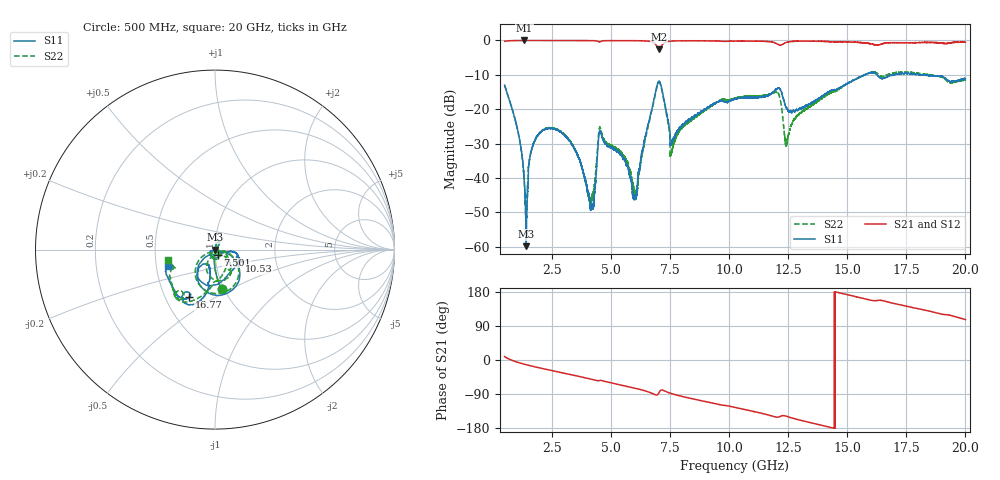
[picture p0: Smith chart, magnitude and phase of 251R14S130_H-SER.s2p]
!{251R14S130}
!Johanson Technology Inc.
!www.johansontechnology.com
!Test Board Conditions:
!Substrate Type  RO4350B
!Substrate Thickness  20 mil
!Substrate Dk  3.66
!TL Type: GCPW
!TL Trace Width  36 mil
!TL Gap  12 mil
!Electrode orientation  Horizontal
!DUT TOPOLOGY	SERIES
!Mounting Pad LxW  26x36 mil
! Created Wed Mar 11 15:50:19 2020
# mhz S ma R 50
! 2 Port Network Data from SP1.SP block
! freq  magS11  angS11  magS21  angS21  magS12  angS12  magS22  angS22
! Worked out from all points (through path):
!   19501 points, 500 MHz to 20 GHz, reference 50 ohm
!   highest |S21| = -0.01 dB at 1.33 GHz (marker M1); lowest = -2.6 dB at 7.034 GHz (marker M2)
!   group delay of S21, straight-line fit = 35.5 ps
!   lowest |S11| = -59.8 dB at 1.416 GHz (marker M3), VSWR 1.00, Z = 49.9 + j0.0151 ohm
!   |S11| at or under -10 dB: start of sweep to 15.73 GHz; 16.27 GHz to 16.92 GHz (652.7 MHz wide, 3.93 % of centre); 18.13 GHz to end of sweep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
!   |S22| runs from -52.1 to -9.1 dB; largest |S21 - S12| = 0.021
!   S11 on the Smith chart (normalised r, x): 500 MHz: 0.97, -0.45; 7.501 GHz: 1.03, -0.06; 10.53 GHz: 1.29, -0.17; 16.77 GHz: 0.66, -0.38; 20 GHz: 0.57, -0.11
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500  0.2237 -80.5  0.9714 8.9  0.9716 8.9  0.224 -80.6
1097  0.04265 -95.9  0.9968 -6.9  0.9961 -6.9  0.04223 -94.5
1330  0.009279 -106.2  0.9987 -11.0  0.9972 -11.0  0.00919 -86.2
1416  0.001025 171.5  0.9971 -12.4  0.9972 -12.4  0.002952 4.3
1645  0.02587 77.4  0.9968 -16.1  0.9969 -16.0  0.02654 69.1
2158  0.0502 68.6  0.9962 -23.3  0.9957 -23.4  0.051 65.1
3750  0.01549 40.9  0.9952 -44.6  0.9948 -44.6  0.0152 48.4
4203  0.003926 21.8  0.9925 -50.9  0.9931 -50.9  0.005222 -12.7
4569  0.04669 -112.8  0.9661 -53.7  0.9664 -53.7  0.05118 -104.2
5528  0.01877 -162.3  0.9932 -67.5  0.9929 -67.5  0.02109 -137.7
6010  0.005571 -86.8  0.9907 -74.3  0.9909 -74.3  0.005509 -94.4
7000  0.2475 -69.3  0.7626 -89.7  0.7623 -89.8  0.2386 -71.6
7034  0.256 -81.7  0.7441 -86.3  0.745 -86.3  0.2455 -84.6
7501  0.03162 -62.7  0.9742 -87.3  0.9747 -87.3  0.02043 -54.4
10250  0.1425 -19.6  0.9795 -125.1  0.9787 -125.1  0.1446 -53.4
10527  0.1468 -25.5  0.9771 -128.8  0.9789 -128.8  0.1516 -54.5
12037  0.1992 -93.5  0.8882 -150.8  0.8917 -150.8  0.1747 -83.0
12435  0.1043 -129.3  0.9403 -148.7  0.9434 -148.7  0.0309 -62.7
13500  0.1254 -102.8  0.9761 -166.1  0.9781 -166.2  0.1157 -56.5
16750  0.3003 -118.5  0.924 152.6  0.9193 152.3  0.3221 -123.2
16766  0.3014 -118.4  0.9248 152.4  0.918 152.0  0.324 -123.5
20000  0.2783 -161.2  0.9407 106.9  0.9412 107.1  0.2676 -167.3
